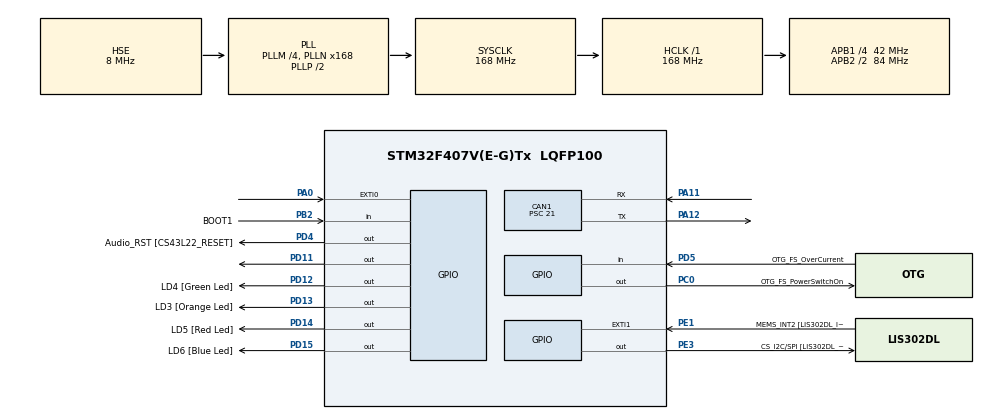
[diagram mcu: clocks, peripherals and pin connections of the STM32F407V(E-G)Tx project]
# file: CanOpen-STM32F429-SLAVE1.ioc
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CAN1.BS1=CAN_BS1_14TQ
CAN1.BS2=CAN_BS2_5TQ
CAN1.CalculateBaudRate=100000
CAN1.CalculateTimeBit=10000
CAN1.CalculateTimeQuantum=500.0
CAN1.Mode=CAN_MODE_NORMAL
CAN1.Prescaler=21
Mcu.Family=STM32F4
Mcu.Name=STM32F407V(E-G)Tx
Mcu.Package=LQFP100
NVIC.CAN1_RX0_IRQn=true\:0\:0\:false\:false\:true\:true\:true\:true
NVIC.CAN1_RX1_IRQn=true\:0\:0\:false\:false\:true\:true\:true\:true
NVIC.CAN1_SCE_IRQn=true\:0\:0\:false\:false\:true\:true\:true\:true
NVIC.CAN1_TX_IRQn=true\:0\:0\:false\:false\:true\:true\:true\:true
NVIC.EXTI0_IRQn=true\:0\:0\:false\:false\:true\:true\:true\:true
NVIC.PriorityGroup=NVIC_PRIORITYGROUP_0
NVIC.TIM4_IRQn=true\:0\:0\:false\:false\:true\:true\:true\:true
NVIC.TIM7_IRQn=true\:0\:0\:false\:false\:true\:true\:true\:true
NVIC.TIM8_TRG_COM_TIM14_IRQn=true\:0\:0\:false\:false\:true\:true\:true\:true
PA0-WKUP.Signal=GPXTI0
PA10.GPIO_Label=OTG_FS_ID
PA10.GPIO_Mode=GPIO_MODE_AF_PP
PA10.GPIO_PuPd=GPIO_NOPULL
PA10.GPIO_Speed=GPIO_SPEED_FREQ_LOW
PA10.Signal=USB_OTG_FS_ID
PA11.Mode=CAN_Activate
PA11.Signal=CAN1_RX
PA12.Mode=CAN_Activate
PA12.Signal=CAN1_TX
PA13.GPIO_Label=SWDIO
PA13.Mode=Serial_Wire
PA13.Signal=SYS_JTMS-SWDIO
PA14.GPIO_Label=SWCLK
PA14.Mode=Serial_Wire
PA14.Signal=SYS_JTCK-SWCLK
PA4.GPIO_Label=I2S3_WS [CS43L22_LRCK]
PA4.GPIO_Mode=GPIO_MODE_AF_PP
PA4.GPIO_PuPd=GPIO_NOPULL
PA4.GPIO_Speed=GPIO_SPEED_FREQ_LOW
PA4.Signal=I2S3_WS
PA5.GPIO_Label=SPI1_SCK [LIS302DL_SCL/SPC]
PA5.GPIO_Mode=GPIO_MODE_AF_PP
PA5.GPIO_PuPd=GPIO_NOPULL
PA5.GPIO_Speed=GPIO_SPEED_FREQ_LOW
PA5.Signal=SPI1_SCK
PA6.GPIO_Label=SPI1_MISO [LIS302DL_SDO]
PA6.GPIO_Mode=GPIO_MODE_AF_PP
PA6.GPIO_PuPd=GPIO_NOPULL
PA6.GPIO_Speed=GPIO_SPEED_FREQ_LOW
PA6.Signal=SPI1_MISO
PA7.GPIO_Label=SPI1_MOSI [LIS302DL_SDA/SDI/SDO]
PA7.GPIO_Mode=GPIO_MODE_AF_PP
PA7.GPIO_PuPd=GPIO_NOPULL
PA7.GPIO_Speed=GPIO_SPEED_FREQ_LOW
PA7.Signal=SPI1_MOSI
PA9.GPIO_Label=VBUS_FS
PA9.GPIO_Mode=GPIO_MODE_INPUT
PA9.GPIO_PuPd=GPIO_NOPULL
PA9.Signal=USB_OTG_FS_VBUS
PB10.GPIO_Label=CLK_IN [MP45DT02_CLK]
PB10.GPIO_Mode=GPIO_MODE_AF_PP
PB10.GPIO_PuPd=GPIO_NOPULL
PB10.GPIO_Speed=GPIO_SPEED_FREQ_LOW
PB10.Signal=I2S2_CK
PB2.GPIO_Label=BOOT1
PB2.GPIO_Mode=GPIO_MODE_INPUT
PB2.GPIO_PuPd=GPIO_NOPULL
PB2.Signal=GPIO_Input
PB3.GPIO_Label=SWO
PB3.Signal=SYS_JTDO-SWO
PB5.Signal=CAN2_RX
PB6.GPIO_Label=Audio_SCL [CS43L22_SCL]
PB6.GPIO_Mode=GPIO_MODE_AF_OD
PB6.GPIO_Pu=GPIO_PULLUP
PB6.GPIO_PuPd=GPIO_NOPULL
PB6.GPIO_Speed=GPIO_SPEED_FREQ_LOW
PB6.Signal=I2C1_SCL
PB9.GPIO_Label=Audio_SDA [CS43L22_SDA]
PB9.GPIO_Mode=GPIO_MODE_AF_OD
PB9.GPIO_Pu=GPIO_PULLUP
PB9.GPIO_PuPd=GPIO_NOPULL
PB9.GPIO_Speed=GPIO_SPEED_FREQ_LOW
PB9.Signal=I2C1_SDA
PC0.GPIO_Label=OTG_FS_PowerSwitchOn
PC0.GPIO_PuPd=GPIO_NOPULL
PC0.GPIO_Speed=GPIO_SPEED_FREQ_LOW
PC0.PinState=GPIO_PIN_SET
PC0.Signal=GPIO_Output
PC10.GPIO_Label=I2S3_SCK [CS43L22_SCLK]
PC10.GPIO_Mode=GPIO_MODE_AF_PP
PC10.GPIO_PuPd=GPIO_NOPULL
PC10.GPIO_Speed=GPIO_SPEED_FREQ_LOW
PC10.Signal=I2S3_CK
PC12.GPIO_Label=I2S3_SD [CS43L22_SDIN]
PC12.GPIO_Mode=GPIO_MODE_AF_PP
PC12.GPIO_PuPd=GPIO_NOPULL
PC12.GPIO_Speed=GPIO_SPEED_FREQ_LOW
PC12.Signal=I2S3_SD
PC14-OSC32_IN.GPIO_Label=PC14-OSC32_IN
PC14-OSC32_IN.Mode=LSE-External-Oscillator
PC14-OSC32_IN.Signal=RCC_OSC32_IN
PC15-OSC32_OUT.GPIO_Label=PC15-OSC32_OUT
PC15-OSC32_OUT.Mode=LSE-External-Oscillator
PC15-OSC32_OUT.Signal=RCC_OSC32_OUT
PC3.GPIO_Label=PDM_OUT [MP45DT02_DOUT]
PC3.GPIO_Mode=GPIO_MODE_AF_PP
PC3.GPIO_PuPd=GPIO_NOPULL
PC3.GPIO_Speed=GPIO_SPEED_FREQ_LOW
PC3.Signal=I2S2_SD
PD11.Signal=GPIO_Output
PD12.GPIO_Label=LD4 [Green Led]
PD12.GPIO_PuPd=GPIO_NOPULL
PD12.GPIO_Speed=GPIO_SPEED_FREQ_LOW
PD12.Signal=GPIO_Output
PD13.GPIO_Label=LD3 [Orange Led]
PD13.GPIO_PuPd=GPIO_NOPULL
PD13.GPIO_Speed=GPIO_SPEED_FREQ_LOW
PD13.Signal=GPIO_Output
PD14.GPIO_Label=LD5 [Red Led]
PD14.GPIO_PuPd=GPIO_NOPULL
PD14.GPIO_Speed=GPIO_SPEED_FREQ_LOW
PD14.Signal=GPIO_Output
PD15.GPIO_Label=LD6 [Blue Led]
PD15.GPIO_PuPd=GPIO_NOPULL
PD15.GPIO_Speed=GPIO_SPEED_FREQ_LOW
PD15.Signal=GPIO_Output
PD4.GPIO_Label=Audio_RST [CS43L22_RESET]
PD4.GPIO_PuPd=GPIO_NOPULL
PD4.GPIO_Speed=GPIO_SPEED_FREQ_LOW
PD4.Signal=GPIO_Output
PD5.GPIO_Label=OTG_FS_OverCurrent
PD5.GPIO_Mode=GPIO_MODE_INPUT
PD5.GPIO_PuPd=GPIO_NOPULL
PD5.Signal=GPIO_Input
PE1.GPIO_Label=MEMS_INT2 [LIS302DL_INT2]
PE1.GPIO_ModeDefaultEXTI=GPIO_MODE_EVT_RISING
PE1.GPIO_PuPd=GPIO_NOPULL
PE1.Signal=GPXTI1
PE3.GPIO_Label=CS_I2C/SPI [LIS302DL_CS_I2C/SPI]
PE3.GPIO_PuPd=GPIO_NOPULL
PE3.GPIO_Speed=GPIO_SPEED_FREQ_LOW
PE3.Signal=GPIO_Output
PH0-OSC_IN.GPIO_Label=PH0-OSC_IN
PH0-OSC_IN.Mode=HSE-External-Oscillator
PH0-OSC_IN.Signal=RCC_OSC_IN
PH1-OSC_OUT.GPIO_Label=PH1-OSC_OUT
PH1-OSC_OUT.Mode=HSE-External-Oscillator
PH1-OSC_OUT.Signal=RCC_OSC_OUT
ProjectManager.HeapSize=0x200
ProjectManager.StackSize=0x400
ProjectManager.TargetToolchain=STM32CubeIDE
RCC.48MHZClocksFreq_Value=48000000
RCC.AHBFreq_Value=168000000
RCC.APB1CLKDivider=RCC_HCLK_DIV4
RCC.APB1Freq_Value=42000000
RCC.APB1TimFreq_Value=84000000
RCC.APB2CLKDivider=RCC_HCLK_DIV2
RCC.APB2Freq_Value=84000000
RCC.APB2TimFreq_Value=168000000
RCC.CortexFreq_Value=168000000
RCC.HCLKFreq_Value=168000000
RCC.HSE_VALUE=8000000
RCC.HSI_VALUE=16000000
RCC.PLLI2SN=50
RCC.PLLM=4
RCC.PLLN=168
RCC.PLLQ=7
RCC.PLLSourceVirtual=RCC_PLLSOURCE_HSE
RCC.SYSCLKFreq_VALUE=168000000
RCC.SYSCLKSource=RCC_SYSCLKSOURCE_PLLCLK
RCC.VCOOutputFreq_Value=336000000
TIM14.Period=1000
TIM14.Prescaler=83
TIM4.Period=63000
TIM4.Prescaler=839
TIM7.Period=9999
TIM7.Prescaler=839
VP_TIM14_VS_ClockSourceINT.Mode=Enable_Timer
VP_TIM4_VS_ClockSourceINT.Mode=Internal
VP_TIM7_VS_ClockSourceINT.Mode=Enable_Timer
board=STM32F407G-DISC1

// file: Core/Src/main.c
/* USER CODE BEGIN Header */
/**
  ******************************************************************************
  * @file           : main.c
  * @brief          : Main program body
  ******************************************************************************
  * @attention
  *
  * Copyright (c) 2022 STMicroelectronics.
  * All rights reserved.
  *
  * This software is licensed under terms that can be found in the LICENSE file
  * in the root directory of this software component.
  * If no LICENSE file comes with this software, it is provided AS-IS.
  *
  ******************************************************************************
  */
/* USER CODE END Header */
#include "main.h"

/* USER CODE BEGIN Includes */
#include "CO_app_STM32.h"
#include "CANopen.h"
#include "OD.h"
/* USER CODE END Includes */

/* USER CODE BEGIN PD */
#define log_printf(macropar_message, ...) printf(macropar_message, ##__VA_ARGS__)

#define CANOPEN_ID 2

/* USER CODE END PD */

CAN_HandleTypeDef hcan1;

TIM_HandleTypeDef htim4;
TIM_HandleTypeDef htim7;
TIM_HandleTypeDef htim14;

/* USER CODE BEGIN PV */
uint8_t leftSignal, rightSignal, flash;
/* USER CODE END PV */

void SystemClock_Config(void);
static void MX_GPIO_Init(void);
static void MX_TIM14_Init(void);
static void MX_CAN1_Init(void);
static void MX_TIM4_Init(void);
static void MX_TIM7_Init(void);
/* USER CODE BEGIN PFP */
void LEDControl(uint32_t ledControlValue);
/* USER CODE END PFP */

/* USER CODE BEGIN 0 */
/* Timer interrupt function executes every 1 ms */
void
HAL_TIM_PeriodElapsedCallback(TIM_HandleTypeDef* htim) {
    if (htim == canopenNodeSTM32->timerHandle) {
        canopen_app_interrupt();
    }
}
/* USER CODE END 0 */

int main(void)
{

  /* MCU Configuration--------------------------------------------------------*/

  /* Reset of all peripherals, Initializes the Flash interface and the Systick. */
  HAL_Init();

  /* Configure the system clock */
  SystemClock_Config();

  /* Initialize all configured peripherals */
  MX_GPIO_Init();
  MX_TIM14_Init();
  MX_CAN1_Init();
  MX_TIM4_Init();
  MX_TIM7_Init();
  /* USER CODE BEGIN 2 */
  HAL_TIM_Base_Start_IT(&htim4);
  HAL_TIM_Base_Start_IT(&htim7);
  CANopenNodeSTM32 canOpenNodeSTM32;
  canOpenNodeSTM32.CANHandle = &hcan1;
  canOpenNodeSTM32.HWInitFunction = MX_CAN1_Init;
  canOpenNodeSTM32.timerHandle = &htim14;
  canOpenNodeSTM32.desiredNodeID = CANOPEN_ID;
  canOpenNodeSTM32.baudrate = 100;
  canopen_app_init(&canOpenNodeSTM32);
  HAL_GPIO_WritePin(GPIOD, GPIO_PIN_11, GPIO_PIN_RESET);
  HAL_GPIO_WritePin(GPIOD, GPIO_PIN_12, GPIO_PIN_RESET);
  HAL_GPIO_WritePin(GPIOD, GPIO_PIN_13, GPIO_PIN_RESET);
  HAL_GPIO_WritePin(GPIOD, GPIO_PIN_14, GPIO_PIN_RESET);
  HAL_GPIO_WritePin(GPIOD, GPIO_PIN_15, GPIO_PIN_RESET);
  /* USER CODE END 2 */

  /* Infinite loop */
  /* USER CODE BEGIN WHILE */
  while (1)
  {
	  HAL_GPIO_WritePin(GPIOG, GPIO_PIN_14, !canOpenNodeSTM32.outStatusLEDGreen);
	  HAL_GPIO_WritePin(GPIOG, GPIO_PIN_13, !canOpenNodeSTM32.outStatusLEDRed);
	  canopen_app_process();
	  LEDControl(OD_PERSIST_COMM.x6000_LED_CONTROL_r);
    /* USER CODE END WHILE */

  }
}

void SystemClock_Config(void)
{
  RCC_OscInitTypeDef RCC_OscInitStruct = {0};
  RCC_ClkInitTypeDef RCC_ClkInitStruct = {0};

  /** Configure the main internal regulator output voltage
  */
  __HAL_RCC_PWR_CLK_ENABLE();
  __HAL_PWR_VOLTAGESCALING_CONFIG(PWR_REGULATOR_VOLTAGE_SCALE1);

  /** Initializes the RCC Oscillators according to the specified parameters
  * in the RCC_OscInitTypeDef structure.
  */
  RCC_OscInitStruct.OscillatorType = RCC_OSCILLATORTYPE_HSE;
  RCC_OscInitStruct.HSEState = RCC_HSE_ON;
  RCC_OscInitStruct.PLL.PLLState = RCC_PLL_ON;
  RCC_OscInitStruct.PLL.PLLSource = RCC_PLLSOURCE_HSE;
  RCC_OscInitStruct.PLL.PLLM = 4;
  RCC_OscInitStruct.PLL.PLLN = 168;
  RCC_OscInitStruct.PLL.PLLP = RCC_PLLP_DIV2;
  RCC_OscInitStruct.PLL.PLLQ = 7;
  if (HAL_RCC_OscConfig(&RCC_OscInitStruct) != HAL_OK)
  {
    Error_Handler();
  }

  /** Initializes the CPU, AHB and APB buses clocks
  */
  RCC_ClkInitStruct.ClockType = RCC_CLOCKTYPE_HCLK|RCC_CLOCKTYPE_SYSCLK
                              |RCC_CLOCKTYPE_PCLK1|RCC_CLOCKTYPE_PCLK2;
  RCC_ClkInitStruct.SYSCLKSource = RCC_SYSCLKSOURCE_PLLCLK;
  RCC_ClkInitStruct.AHBCLKDivider = RCC_SYSCLK_DIV1;
  RCC_ClkInitStruct.APB1CLKDivider = RCC_HCLK_DIV4;
  RCC_ClkInitStruct.APB2CLKDivider = RCC_HCLK_DIV2;

  if (HAL_RCC_ClockConfig(&RCC_ClkInitStruct, FLASH_LATENCY_5) != HAL_OK)
  {
    Error_Handler();
  }
}

static void MX_CAN1_Init(void)
{

  hcan1.Instance = CAN1;
  hcan1.Init.Prescaler = 21;
  hcan1.Init.Mode = CAN_MODE_NORMAL;
  hcan1.Init.SyncJumpWidth = CAN_SJW_1TQ;
  hcan1.Init.TimeSeg1 = CAN_BS1_14TQ;
  hcan1.Init.TimeSeg2 = CAN_BS2_5TQ;
  hcan1.Init.TimeTriggeredMode = DISABLE;
  hcan1.Init.AutoBusOff = DISABLE;
  hcan1.Init.AutoWakeUp = DISABLE;
  hcan1.Init.AutoRetransmission = DISABLE;
  hcan1.Init.ReceiveFifoLocked = DISABLE;
  hcan1.Init.TransmitFifoPriority = DISABLE;
  if (HAL_CAN_Init(&hcan1) != HAL_OK)
  {
    Error_Handler();
  }

}

static void MX_TIM4_Init(void)
{

  TIM_ClockConfigTypeDef sClockSourceConfig = {0};
  TIM_MasterConfigTypeDef sMasterConfig = {0};

  htim4.Instance = TIM4;
  htim4.Init.Prescaler = 839;
  htim4.Init.CounterMode = TIM_COUNTERMODE_UP;
  htim4.Init.Period = 63000;
  htim4.Init.ClockDivision = TIM_CLOCKDIVISION_DIV1;
  htim4.Init.AutoReloadPreload = TIM_AUTORELOAD_PRELOAD_DISABLE;
  if (HAL_TIM_Base_Init(&htim4) != HAL_OK)
  {
    Error_Handler();
  }
  sClockSourceConfig.ClockSource = TIM_CLOCKSOURCE_INTERNAL;
  if (HAL_TIM_ConfigClockSource(&htim4, &sClockSourceConfig) != HAL_OK)
  {
    Error_Handler();
  }
  sMasterConfig.MasterOutputTrigger = TIM_TRGO_RESET;
  sMasterConfig.MasterSlaveMode = TIM_MASTERSLAVEMODE_DISABLE;
  if (HAL_TIMEx_MasterConfigSynchronization(&htim4, &sMasterConfig) != HAL_OK)
  {
    Error_Handler();
  }

}

static void MX_TIM7_Init(void)
{

  TIM_MasterConfigTypeDef sMasterConfig = {0};

  htim7.Instance = TIM7;
  htim7.Init.Prescaler = 839;
  htim7.Init.CounterMode = TIM_COUNTERMODE_UP;
  htim7.Init.Period = 9999;
  htim7.Init.AutoReloadPreload = TIM_AUTORELOAD_PRELOAD_DISABLE;
  if (HAL_TIM_Base_Init(&htim7) != HAL_OK)
  {
    Error_Handler();
  }
  sMasterConfig.MasterOutputTrigger = TIM_TRGO_RESET;
  sMasterConfig.MasterSlaveMode = TIM_MASTERSLAVEMODE_DISABLE;
  if (HAL_TIMEx_MasterConfigSynchronization(&htim7, &sMasterConfig) != HAL_OK)
  {
    Error_Handler();
  }

}

static void MX_TIM14_Init(void)
{

  htim14.Instance = TIM14;
  htim14.Init.Prescaler = 83;
  htim14.Init.CounterMode = TIM_COUNTERMODE_UP;
  htim14.Init.Period = 1000;
  htim14.Init.ClockDivision = TIM_CLOCKDIVISION_DIV1;
  htim14.Init.AutoReloadPreload = TIM_AUTORELOAD_PRELOAD_DISABLE;
  if (HAL_TIM_Base_Init(&htim14) != HAL_OK)
  {
    Error_Handler();
  }

}

static void MX_GPIO_Init(void)
{
  GPIO_InitTypeDef GPIO_InitStruct = {0};
  /* USER CODE BEGIN MX_GPIO_Init_1 */
  __HAL_RCC_GPIOG_CLK_ENABLE();
  /* USER CODE END MX_GPIO_Init_1 */

  /* GPIO Ports Clock Enable */
  __HAL_RCC_GPIOE_CLK_ENABLE();
  __HAL_RCC_GPIOC_CLK_ENABLE();
  __HAL_RCC_GPIOH_CLK_ENABLE();
  __HAL_RCC_GPIOA_CLK_ENABLE();
  __HAL_RCC_GPIOB_CLK_ENABLE();
  __HAL_RCC_GPIOD_CLK_ENABLE();

  /*Configure GPIO pin Output Level */
  HAL_GPIO_WritePin(CS_I2C_SPI_GPIO_Port, CS_I2C_SPI_Pin, GPIO_PIN_RESET);

  /*Configure GPIO pin Output Level */
  HAL_GPIO_WritePin(OTG_FS_PowerSwitchOn_GPIO_Port, OTG_FS_PowerSwitchOn_Pin, GPIO_PIN_SET);

  /*Configure GPIO pin Output Level */
  HAL_GPIO_WritePin(GPIOD, GPIO_PIN_11|LD4_Pin|LD3_Pin|LD5_Pin
                          |LD6_Pin|Audio_RST_Pin, GPIO_PIN_RESET);

  /*Configure GPIO pin : CS_I2C_SPI_Pin */
  GPIO_InitStruct.Pin = CS_I2C_SPI_Pin;
  GPIO_InitStruct.Mode = GPIO_MODE_OUTPUT_PP;
  GPIO_InitStruct.Pull = GPIO_NOPULL;
  GPIO_InitStruct.Speed = GPIO_SPEED_FREQ_LOW;
  HAL_GPIO_Init(CS_I2C_SPI_GPIO_Port, &GPIO_InitStruct);

  /*Configure GPIO pin : OTG_FS_PowerSwitchOn_Pin */
  GPIO_InitStruct.Pin = OTG_FS_PowerSwitchOn_Pin;
  GPIO_InitStruct.Mode = GPIO_MODE_OUTPUT_PP;
  GPIO_InitStruct.Pull = GPIO_NOPULL;
  GPIO_InitStruct.Speed = GPIO_SPEED_FREQ_LOW;
  HAL_GPIO_Init(OTG_FS_PowerSwitchOn_GPIO_Port, &GPIO_InitStruct);

  /*Configure GPIO pin : PDM_OUT_Pin */
  GPIO_InitStruct.Pin = PDM_OUT_Pin;
  GPIO_InitStruct.Mode = GPIO_MODE_AF_PP;
  GPIO_InitStruct.Pull = GPIO_NOPULL;
  GPIO_InitStruct.Speed = GPIO_SPEED_FREQ_LOW;
  GPIO_InitStruct.Alternate = GPIO_AF5_SPI2;
  HAL_GPIO_Init(PDM_OUT_GPIO_Port, &GPIO_InitStruct);

  /*Configure GPIO pin : PA0 */
  GPIO_InitStruct.Pin = GPIO_PIN_0;
  GPIO_InitStruct.Mode = GPIO_MODE_IT_RISING;
  GPIO_InitStruct.Pull = GPIO_NOPULL;
  HAL_GPIO_Init(GPIOA, &GPIO_InitStruct);

  /*Configure GPIO pin : I2S3_WS_Pin */
  GPIO_InitStruct.Pin = I2S3_WS_Pin;
  GPIO_InitStruct.Mode = GPIO_MODE_AF_PP;
  GPIO_InitStruct.Pull = GPIO_NOPULL;
  GPIO_InitStruct.Speed = GPIO_SPEED_FREQ_LOW;
  GPIO_InitStruct.Alternate = GPIO_AF6_SPI3;
  HAL_GPIO_Init(I2S3_WS_GPIO_Port, &GPIO_InitStruct);

  /*Configure GPIO pins : SPI1_SCK_Pin SPI1_MISO_Pin SPI1_MOSI_Pin */
  GPIO_InitStruct.Pin = SPI1_SCK_Pin|SPI1_MISO_Pin|SPI1_MOSI_Pin;
  GPIO_InitStruct.Mode = GPIO_MODE_AF_PP;
  GPIO_InitStruct.Pull = GPIO_NOPULL;
  GPIO_InitStruct.Speed = GPIO_SPEED_FREQ_LOW;
  GPIO_InitStruct.Alternate = GPIO_AF5_SPI1;
  HAL_GPIO_Init(GPIOA, &GPIO_InitStruct);

  /*Configure GPIO pin : BOOT1_Pin */
  GPIO_InitStruct.Pin = BOOT1_Pin;
  GPIO_InitStruct.Mode = GPIO_MODE_INPUT;
  GPIO_InitStruct.Pull = GPIO_NOPULL;
  HAL_GPIO_Init(BOOT1_GPIO_Port, &GPIO_InitStruct);

  /*Configure GPIO pin : CLK_IN_Pin */
  GPIO_InitStruct.Pin = CLK_IN_Pin;
  GPIO_InitStruct.Mode = GPIO_MODE_AF_PP;
  GPIO_InitStruct.Pull = GPIO_NOPULL;
  GPIO_InitStruct.Speed = GPIO_SPEED_FREQ_LOW;
  GPIO_InitStruct.Alternate = GPIO_AF5_SPI2;
  HAL_GPIO_Init(CLK_IN_GPIO_Port, &GPIO_InitStruct);

  /*Configure GPIO pins : PD11 LD4_Pin LD3_Pin LD5_Pin
                           LD6_Pin Audio_RST_Pin */
  GPIO_InitStruct.Pin = GPIO_PIN_11|LD4_Pin|LD3_Pin|LD5_Pin
                          |LD6_Pin|Audio_RST_Pin;
  GPIO_InitStruct.Mode = GPIO_MODE_OUTPUT_PP;
  GPIO_InitStruct.Pull = GPIO_NOPULL;
  GPIO_InitStruct.Speed = GPIO_SPEED_FREQ_LOW;
  HAL_GPIO_Init(GPIOD, &GPIO_InitStruct);

  /*Configure GPIO pin : VBUS_FS_Pin */
  GPIO_InitStruct.Pin = VBUS_FS_Pin;
  GPIO_InitStruct.Mode = GPIO_MODE_INPUT;
  GPIO_InitStruct.Pull = GPIO_NOPULL;
  HAL_GPIO_Init(VBUS_FS_GPIO_Port, &GPIO_InitStruct);

  /*Configure GPIO pin : OTG_FS_ID_Pin */
  GPIO_InitStruct.Pin = OTG_FS_ID_Pin;
  GPIO_InitStruct.Mode = GPIO_MODE_AF_PP;
  GPIO_InitStruct.Pull = GPIO_NOPULL;
  GPIO_InitStruct.Speed = GPIO_SPEED_FREQ_LOW;
  GPIO_InitStruct.Alternate = GPIO_AF10_OTG_FS;
  HAL_GPIO_Init(OTG_FS_ID_GPIO_Port, &GPIO_InitStruct);

  /*Configure GPIO pins : I2S3_SCK_Pin I2S3_SD_Pin */
  GPIO_InitStruct.Pin = I2S3_SCK_Pin|I2S3_SD_Pin;
  GPIO_InitStruct.Mode = GPIO_MODE_AF_PP;
  GPIO_InitStruct.Pull = GPIO_NOPULL;
  GPIO_InitStruct.Speed = GPIO_SPEED_FREQ_LOW;
  GPIO_InitStruct.Alternate = GPIO_AF6_SPI3;
  HAL_GPIO_Init(GPIOC, &GPIO_InitStruct);

  /*Configure GPIO pin : OTG_FS_OverCurrent_Pin */
  GPIO_InitStruct.Pin = OTG_FS_OverCurrent_Pin;
  GPIO_InitStruct.Mode = GPIO_MODE_INPUT;
  GPIO_InitStruct.Pull = GPIO_NOPULL;
  HAL_GPIO_Init(OTG_FS_OverCurrent_GPIO_Port, &GPIO_InitStruct);

  /*Configure GPIO pin : PB5 */
  GPIO_InitStruct.Pin = GPIO_PIN_5;
  GPIO_InitStruct.Mode = GPIO_MODE_AF_PP;
  GPIO_InitStruct.Pull = GPIO_NOPULL;
  GPIO_InitStruct.Speed = GPIO_SPEED_FREQ_VERY_HIGH;
  GPIO_InitStruct.Alternate = GPIO_AF9_CAN2;
  HAL_GPIO_Init(GPIOB, &GPIO_InitStruct);

  /*Configure GPIO pins : Audio_SCL_Pin Audio_SDA_Pin */
  GPIO_InitStruct.Pin = Audio_SCL_Pin|Audio_SDA_Pin;
  GPIO_InitStruct.Mode = GPIO_MODE_AF_OD;
  GPIO_InitStruct.Pull = GPIO_PULLUP;
  GPIO_InitStruct.Speed = GPIO_SPEED_FREQ_LOW;
  GPIO_InitStruct.Alternate = GPIO_AF4_I2C1;
  HAL_GPIO_Init(GPIOB, &GPIO_InitStruct);

  /*Configure GPIO pin : MEMS_INT2_Pin */
  GPIO_InitStruct.Pin = MEMS_INT2_Pin;
  GPIO_InitStruct.Mode = GPIO_MODE_EVT_RISING;
  GPIO_InitStruct.Pull = GPIO_NOPULL;
  HAL_GPIO_Init(MEMS_INT2_GPIO_Port, &GPIO_InitStruct);

  /* EXTI interrupt init*/
  HAL_NVIC_SetPriority(EXTI0_IRQn, 0, 0);
  HAL_NVIC_EnableIRQ(EXTI0_IRQn);

  /* USER CODE BEGIN MX_GPIO_Init_2 */
	GPIO_InitStruct.Pin = GPIO_PIN_13 | GPIO_PIN_14;
	GPIO_InitStruct.Mode = GPIO_MODE_OUTPUT_PP;
	GPIO_InitStruct.Pull = GPIO_NOPULL;
	GPIO_InitStruct.Speed = GPIO_SPEED_FREQ_LOW;
	HAL_GPIO_Init(GPIOG, &GPIO_InitStruct);
  /* USER CODE END MX_GPIO_Init_2 */
}

/* USER CODE BEGIN 4 */
void LEDControl(uint32_t ledControlValue) {
    if (ledControlValue & LED_HEADLIGHT_MASK) {
        HAL_GPIO_WritePin(GPIOD, GPIO_PIN_11, GPIO_PIN_SET);
        HAL_GPIO_WritePin(GPIOD, GPIO_PIN_12, GPIO_PIN_SET);
    } else {
        HAL_GPIO_WritePin(GPIOD, GPIO_PIN_11, GPIO_PIN_RESET);
        HAL_GPIO_WritePin(GPIOD, GPIO_PIN_12, GPIO_PIN_RESET);
    }
    if (ledControlValue & LED_FLASH_MASK) {
        flash = 1;
    }
    else
    {
    	flash = 0;
    }

    if ((ledControlValue & LED_HIGH_BEAM_MASK) && !(ledControlValue & LED_FLASH_MASK)) {
        HAL_GPIO_WritePin(GPIOD, GPIO_PIN_15, GPIO_PIN_SET);
    } else if (!(ledControlValue & LED_FLASH_MASK)) {
        HAL_GPIO_WritePin(GPIOD, GPIO_PIN_15, GPIO_PIN_RESET);
    }

    bool hasLeftSignal = (ledControlValue & LED_LEFT_SIGNAL_MASK) != 0;
    bool hasRightSignal = (ledControlValue & LED_RIGHT_SIGNAL_MASK) != 0;
    if (hasLeftSignal && hasRightSignal) {
        leftSignal = 1;
        rightSignal = 1;
    } else {
        leftSignal = hasLeftSignal ? 1 : 0;
        rightSignal = hasRightSignal ? 1 : 0;
    }
}

__STATIC_INLINE uint32_t My_ITM_SendChar (uint32_t ch)
{
  if (((ITM->TCR & ITM_TCR_ITMENA_Msk) != 0UL) &&      /* ITM enabled */
      ((ITM->TER & 1UL               ) != 0UL)   )     /* ITM Port #0 enabled */
  {
    while (ITM->PORT[ITM_CHANNEL].u32 == 0UL)
    {
      __NOP();
    }
    ITM->PORT[ITM_CHANNEL].u8 = (uint8_t)ch;
  }
  return (ch);
}

int _write(int file, char *ptr, int len) {
	int i;
	for(i = 0; i < len; i++) {
		My_ITM_SendChar(*ptr++);
	}
	return len;
}

/* USER CODE END 4 */

void Error_Handler(void)
{
  __disable_irq();
  while (1)
  {
  }
}
